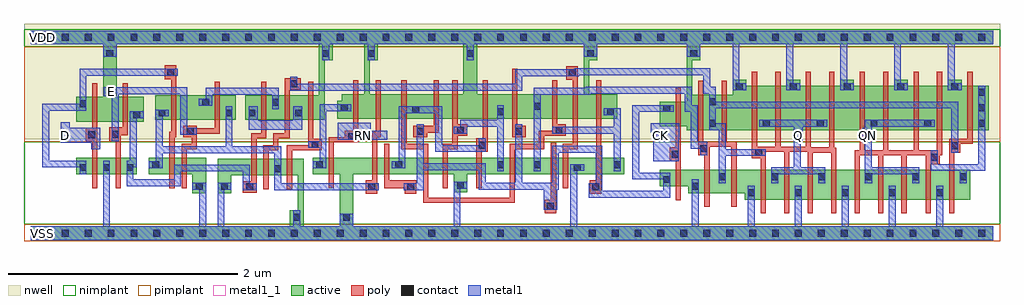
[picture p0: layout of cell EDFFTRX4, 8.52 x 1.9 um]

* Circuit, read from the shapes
.subckt EDFFTRX4 CK D E Q QN RN VDD VSS
M1 VSS D n1 VSS nfet w=0.145u l=0.045u
M2 n2 E VSS VSS nfet w=0.145u l=0.045u
M3 n3 n1 n4 VSS nfet w=0.145u l=0.045u
M4 VSS E n3 VSS nfet w=0.145u l=0.045u
M5 n5 n2 VSS VSS nfet w=0.145u l=0.045u
M6 n4 n6 n5 VSS nfet w=0.145u l=0.045u
M7 VSS n7 n4 VSS nfet w=0.145u l=0.045u
M8 VSS RN n7 VSS nfet w=0.145u l=0.045u
M9 n8 n4 VSS VSS nfet w=0.145u l=0.045u
M10 n9 n10 n8 VSS nfet w=0.145u l=0.045u
M11 n11 n12 n9 VSS nfet w=0.145u l=0.045u
M12 VSS n13 n11 VSS nfet w=0.145u l=0.045u
M13 n13 n9 VSS VSS nfet w=0.145u l=0.045u
M14 n14 n12 n13 VSS nfet w=0.145u l=0.045u
M15 n15 n10 n14 VSS nfet w=0.145u l=0.045u
M16 VSS n6 n15 VSS nfet w=0.145u l=0.045u
M17 n12 n10 VSS VSS nfet w=0.145u l=0.045u
M18 VSS CK n10 VSS nfet w=0.145u l=0.045u
M19 n6 n14 VSS VSS nfet w=0.205u l=0.045u m=2
M20 Q n6 VSS VSS nfet w=0.26u l=0.045u m=4
M21 QN n16 VSS VSS nfet w=0.26u l=0.045u m=4
M22 n16 n6 VSS VSS nfet w=0.26u l=0.045u
M23 VDD D n1 VDD pfet w=0.215u l=0.045u
M24 n2 E VDD VDD pfet w=0.215u l=0.045u
M25 n17 n1 n4 VDD pfet w=0.215u l=0.045u
M26 n4 E n17 VDD pfet w=0.215u l=0.045u
M27 n17 n2 n18 VDD pfet w=0.215u l=0.045u
M28 n18 n6 n17 VDD pfet w=0.215u l=0.045u
M29 VDD n7 n18 VDD pfet w=0.215u l=0.045u
M30 VDD RN n7 VDD pfet w=0.215u l=0.045u
M31 n19 n4 VDD VDD pfet w=0.215u l=0.045u
M32 n9 n12 n19 VDD pfet w=0.215u l=0.045u
M33 n20 n10 n9 VDD pfet w=0.215u l=0.045u
M34 VDD n13 n20 VDD pfet w=0.215u l=0.045u
M35 n13 n9 VDD VDD pfet w=0.215u l=0.045u
M36 n14 n10 n13 VDD pfet w=0.215u l=0.045u
M37 n21 n12 n14 VDD pfet w=0.215u l=0.045u
M38 VDD n6 n21 VDD pfet w=0.215u l=0.045u
M39 n12 n10 VDD VDD pfet w=0.215u l=0.045u
M40 VDD CK n10 VDD pfet w=0.215u l=0.045u
M41 n6 n14 VDD VDD pfet w=0.31u l=0.045u m=2
M42 Q n6 VDD VDD pfet w=0.39u l=0.045u m=4
M43 QN n16 VDD VDD pfet w=0.39u l=0.045u m=4
M44 n16 n6 VDD VDD pfet w=0.39u l=0.045u
.ends

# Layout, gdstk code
import gdstk
lib = gdstk.Library(unit=1e-6, precision=5e-10)
def R(c, l, rs):  # rectangles x0, y0, x1, y1
    for r in rs: c.add(gdstk.rectangle(r[:2], r[2:], *l))
def A(c, l, x, y, w, h, nx, ny, dx, dy):  # array of equal rectangles
    R(c, l, [(x+i*dx, y+j*dy, x+i*dx+w, y+j*dy+h) for i in range(nx) for j in range(ny)])
def P(c, l, *ps):  # polygons
    for p in ps: c.add(gdstk.Polygon(p, *l))
active = (1, 0)
nwell = (2, 0)
poly = (3, 0)
nimplant = (4, 0)
pimplant = (5, 0)
contact = (6, 0)
metal1 = (7, 0)
metal1_1 = (7, 1)

edfftrx4 = lib.new_cell('EDFFTRX4')
R(edfftrx4, active, [(0.395,0.515,0.925,0.66), (1.085,0.99,1.79,1.205)])
P(edfftrx4, active, [(0,1.77),(8.4,1.77),(8.4,1.65),(5.845,1.65),(5.845,1.51),(5.775,1.51),(5.775,1.21),(6.125,1.21),(6.125,1.34),(6.245,1.34),(6.245,1.29),(6.595,1.29),(6.595,1.34),(6.715,1.34),(6.715,1.29),(7.065,1.29),(7.065,1.34),(7.185,1.34),(7.185,1.29),(7.535,1.29),(7.535,1.34),(7.655,1.34),(7.655,1.29),(8.005,1.29),(8.005,1.34),(8.125,1.34),(8.125,1.29),(8.36,1.29),(8.36,0.9),(5.725,0.9),(5.725,0.935),(5.49,0.935),(5.49,1.15),(5.725,1.15),(5.725,1.65),(4.945,1.65),(4.945,1.51),(4.875,1.51),(4.875,1.215),(5.12,1.215),(5.12,1),(2.675,1),(2.675,1.155),(2.715,1.155),(2.715,1.215),(2.91,1.215),(2.91,1.65),(3.03,1.65),(3.03,1.51),(2.96,1.51),(2.96,1.215),(3.775,1.215),(3.775,1.65),(3.895,1.65),(3.895,1.215),(4.825,1.215),(4.825,1.65),(2.635,1.65),(2.635,1.51),(2.565,1.51),(2.565,0.99),(1.87,0.99),(1.87,1.205),(2.515,1.205),(2.515,1.65),(0.75,1.65),(0.75,1.19),(0.985,1.19),(0.985,0.975),(0.395,0.975),(0.395,1.19),(0.63,1.19),(0.63,1.65),(0,1.65)],
  [(1.03,0.66),(1.53,0.66),(1.53,0.35),(1.41,0.35),(1.41,0.515),(1.03,0.515)],
  [(1.63,0.65),(2.38,0.65),(2.38,0.06),(2.695,0.06),(2.695,0.515),(2.46,0.515),(2.46,0.66),(5.18,0.66),(5.18,0.515),(3.81,0.515),(3.81,0.36),(3.69,0.36),(3.69,0.515),(2.815,0.515),(2.815,0.06),(8.4,0.06),(8.4,-0.06),(0,-0.06),(0,0.06),(2.26,0.06),(2.26,0.2),(2.33,0.2),(2.33,0.505),(1.75,0.505),(1.75,0.35),(1.63,0.35)],
  [(5.49,0.555),(8.2,0.555),(8.2,0.295),(6.23,0.295),(6.23,0.35),(5.74,0.35),(5.74,0.41),(5.49,0.41)])
R(edfftrx4, nwell, [(-0.06,0.82,8.46,1.83)])
P(edfftrx4, poly, [(0.535,1.31),(0.58,1.31),(0.58,0.395),(0.535,0.395),(0.535,0.8),(0.48,0.8),(0.48,0.92),(0.535,0.92)],
  [(1.17,1.465),(1.27,1.465),(1.27,0.84),(1.255,0.84),(1.255,0.395),(1.21,0.395),(1.21,0.885),(1.225,0.885),(1.225,1.345),(1.17,1.345)],
  [(2.215,1.355),(2.355,1.355),(2.355,1.255),(2.26,1.255),(2.26,0.83),(2.16,0.83),(2.16,0.725),(2.075,0.725),(2.075,0.385),(2.03,0.385),(2.03,0.77),(2.115,0.77),(2.115,0.875),(2.215,0.875)],
  [(0.8,1.31),(0.845,1.31),(0.845,0.855),(0.785,0.855),(0.785,0.395),(0.74,0.395),(0.74,0.805),(0.685,0.805),(0.685,0.925),(0.8,0.925)],
  [(1.33,0.94),(1.45,0.94),(1.45,0.915),(1.605,0.915),(1.605,1.325),(1.65,1.325),(1.65,0.87),(1.45,0.87),(1.45,0.735),(1.36,0.735),(1.36,0.395),(1.315,0.395),(1.315,0.78),(1.405,0.78),(1.405,0.84),(1.33,0.84)],
  [(2.01,1.325),(2.055,1.325),(2.055,0.83),(1.97,0.83),(1.97,0.355),(1.85,0.355),(1.85,0.455),(1.925,0.455),(1.925,0.875),(2.01,0.875)],
  [(2.42,1.325),(2.465,1.325),(2.465,0.825),(2.54,0.825),(2.54,0.725),(2.28,0.725),(2.28,0.385),(2.235,0.385),(2.235,0.77),(2.42,0.77)],
  [(2.815,1.335),(2.86,1.335),(2.86,0.795),(2.645,0.795),(2.645,0.395),(2.6,0.395),(2.6,0.84),(2.74,0.84),(2.74,0.895),(2.815,0.895)],
  [(3.01,1.335),(3.055,1.335),(3.055,0.84),(3.025,0.84),(3.025,0.345),(2.925,0.345),(2.925,0.465),(2.98,0.465),(2.98,0.885),(3.01,0.885)],
  [(3.235,1.335),(3.28,1.335),(3.28,0.78),(3.47,0.78),(3.47,0.31),(4.18,0.31),(4.18,0.78),(4.435,0.78),(4.435,0.895),(4.55,0.895),(4.55,1.335),(4.595,1.335),(4.595,0.95),(4.67,0.95),(4.67,0.85),(4.48,0.85),(4.48,0.735),(4.225,0.735),(4.225,0.265),(3.425,0.265),(3.425,0.735),(3.235,0.735)],
  [(3.515,1.335),(3.56,1.335),(3.56,0.88),(3.46,0.88),(3.46,0.84),(3.34,0.84),(3.34,0.94),(3.515,0.94)],
  [(3.68,1.335),(3.725,1.335),(3.725,0.95),(3.81,0.95),(3.81,0.85),(3.725,0.85),(3.725,0.735),(3.64,0.735),(3.64,0.395),(3.595,0.395),(3.595,0.78),(3.68,0.78)],
  [(4.675,1.46),(4.775,1.46),(4.775,0.735),(4.69,0.735),(4.69,0.395),(4.645,0.395),(4.645,0.78),(4.73,0.78),(4.73,1.34),(4.675,1.34)],
  [(3.945,1.335),(3.99,1.335),(3.99,0.71),(3.935,0.71),(3.935,0.395),(3.89,0.395),(3.89,0.83),(3.945,0.83)],
  [(4.2,1.435),(4.245,1.435),(4.245,0.94),(4.32,0.94),(4.32,0.84),(4.2,0.84)],
  [(4.935,1.335),(4.98,1.335),(4.98,0.345),(4.88,0.345),(4.88,0.465),(4.935,0.465)],
  [(5.63,1.27),(5.675,1.27),(5.675,0.29),(5.63,0.29),(5.63,0.63),(5.575,0.63),(5.575,0.75),(5.63,0.75)],
  [(5.825,1.33),(5.87,1.33),(5.87,0.8),(6.03,0.8),(6.03,1.33),(6.075,1.33),(6.075,0.8),(6.16,0.8),(6.16,0.23),(6.115,0.23),(6.115,0.755),(5.925,0.755),(5.925,0.23),(5.88,0.23),(5.88,0.68),(5.825,0.68)],
  [(6.295,1.41),(6.34,1.41),(6.34,0.755),(6.5,0.755),(6.5,1.41),(6.545,1.41),(6.545,0.755),(6.765,0.755),(6.765,1.41),(6.81,1.41),(6.81,0.75),(6.97,0.75),(6.97,1.41),(7.015,1.41),(7.015,0.745),(7.03,0.745),(7.03,0.175),(6.985,0.175),(6.985,0.705),(6.825,0.705),(6.825,0.175),(6.78,0.175),(6.78,0.71),(6.62,0.71),(6.62,0.175),(6.575,0.175),(6.575,0.71),(6.415,0.71),(6.415,0.175),(6.37,0.175),(6.37,0.655),(6.295,0.655)],
  [(7.235,1.41),(7.28,1.41),(7.28,0.725),(7.44,0.725),(7.44,1.41),(7.485,1.41),(7.485,0.725),(7.705,0.725),(7.705,1.41),(7.75,1.41),(7.75,0.725),(7.91,0.725),(7.91,1.41),(7.955,1.41),(7.955,0.68),(7.935,0.68),(7.935,0.605),(7.855,0.605),(7.855,0.175),(7.81,0.175),(7.81,0.68),(7.645,0.68),(7.645,0.175),(7.6,0.175),(7.6,0.68),(7.44,0.68),(7.44,0.175),(7.395,0.175),(7.395,0.68),(7.235,0.68),(7.235,0.175),(7.19,0.175),(7.19,0.725),(7.235,0.725)],
  [(8.175,1.41),(8.22,1.41),(8.22,0.78),(8.115,0.78),(8.115,0.705),(8.06,0.705),(8.06,0.175),(8.015,0.175),(8.015,0.825),(8.175,0.825)],
  [(3.085,0.78),(3.13,0.78),(3.13,0.465),(3.365,0.465),(3.365,0.345),(3.265,0.345),(3.265,0.395),(3.085,0.395)],
  [(4.54,0.79),(4.585,0.79),(4.585,0.175),(4.485,0.175),(4.485,0.295),(4.54,0.295)])
R(edfftrx4, nimplant, [(-0.06,0.08,8.46,0.8), (-0.06,1.63,8.46,1.78)])
R(edfftrx4, pimplant, [(-0.06,-0.07,8.46,0.08), (-0.06,0.8,8.46,1.63)])
A(edfftrx4, contact, 0.07, -0.03, 0.06, 0.06, 42, 2, 0.2, 1.71)
A(edfftrx4, contact, 6.26, 0.325, 0.06, 0.06, 4, 1, 0.41, 0)
A(edfftrx4, contact, 6.465, 0.465, 0.06, 0.06, 4, 1, 0.41, 0)
A(edfftrx4, contact, 0.425, 0.545, 0.06, 0.06, 3, 1, 0.205, 0)
A(edfftrx4, contact, 5.92, 0.93, 0.06, 0.06, 6, 1, 0.47, 0)
A(edfftrx4, contact, 6.155, 1.25, 0.06, 0.06, 5, 1, 0.47, 0)
R(edfftrx4, contact, [(2.29,0.11,2.35,0.17), (2.725,0.11,2.785,0.17), (4.505,0.205,4.565,0.265), (7.905,0.325,7.965,0.385), (1.88,0.375,1.94,0.435), (2.945,0.375,3.005,0.435), (3.285,0.375,3.345,0.435), (4.9,0.375,4.96,0.435), (1.44,0.38,1.5,0.44), (1.66,0.38,1.72,0.44), (5.77,0.38,5.83,0.44), (3.72,0.39,3.78,0.45), (5.52,0.44,5.58,0.5), (6.005,0.465,6.065,0.525), (8.11,0.465,8.17,0.525), (2.125,0.535,2.185,0.595), (4.74,0.545,4.8,0.605), (1.06,0.57,1.12,0.63), (2.49,0.57,2.55,0.63), (3.18,0.57,3.24,0.63), (4.07,0.57,4.13,0.63), (4.39,0.57,4.45,0.63), (5.09,0.57,5.15,0.63), (7.855,0.635,7.915,0.695), (5.595,0.66,5.655,0.72), (6.325,0.675,6.385,0.735), (5.845,0.71,5.905,0.77), (8.035,0.735,8.095,0.795), (3.91,0.74,3.97,0.8), (2.45,0.745,2.51,0.805), (2.77,0.815,2.83,0.875), (0.5,0.83,0.56,0.89), (0.705,0.835,0.765,0.895), (1.36,0.86,1.42,0.92), (3.37,0.86,3.43,0.92), (4.23,0.86,4.29,0.92), (3.72,0.87,3.78,0.93), (4.58,0.87,4.64,0.93), (0.895,1.005,0.955,1.065), (1.115,1.02,1.175,1.08), (1.7,1.02,1.76,1.08), (1.9,1.02,1.96,1.08), (2.31,1.02,2.37,1.08), (4.07,1.03,4.13,1.09), (5.03,1.03,5.09,1.09), (3.33,1.05,3.39,1.11), (5.52,1.06,5.58,1.12), (2.705,1.065,2.765,1.125), (8.27,1.065,8.33,1.125), (4.39,1.08,4.45,1.14), (0.425,1.1,0.485,1.16), (1.495,1.115,1.555,1.175), (2.105,1.115,2.165,1.175), (5.92,1.12,5.98,1.18), (8.27,1.2,8.33,1.26), (2.265,1.275,2.325,1.335), (4.695,1.37,4.755,1.43), (1.19,1.375,1.25,1.435), (0.66,1.54,0.72,1.6), (2.545,1.54,2.605,1.6), (2.94,1.54,3,1.6), (3.805,1.54,3.865,1.6), (4.855,1.54,4.915,1.6), (5.755,1.54,5.815,1.6)])
P(edfftrx4, metal1, [(0,1.77),(8.4,1.77),(8.4,1.65),(8.065,1.65),(8.065,1.31),(8.125,1.31),(8.125,1.25),(8.005,1.25),(8.005,1.65),(7.595,1.65),(7.595,1.31),(7.655,1.31),(7.655,1.25),(7.535,1.25),(7.535,1.65),(7.125,1.65),(7.125,1.31),(7.185,1.31),(7.185,1.25),(7.065,1.25),(7.065,1.65),(6.655,1.65),(6.655,1.31),(6.715,1.31),(6.715,1.25),(6.595,1.25),(6.595,1.65),(6.185,1.65),(6.185,1.31),(6.245,1.31),(6.245,1.25),(6.125,1.25),(6.125,1.65),(5.845,1.65),(5.845,1.54),(5.725,1.54),(5.725,1.65),(4.945,1.65),(4.945,1.54),(4.825,1.54),(4.825,1.65),(3.865,1.65),(3.865,1.51),(3.805,1.51),(3.805,1.65),(3,1.65),(3,1.51),(2.94,1.51),(2.94,1.65),(2.605,1.65),(2.605,1.51),(2.545,1.51),(2.545,1.65),(0.75,1.65),(0.75,1.54),(0.63,1.54),(0.63,1.65),(0,1.65)],
  [(4.745,1.44),(5.93,1.44),(5.93,1.28),(5.98,1.28),(5.98,1.15),(8.095,1.15),(8.095,0.705),(8.035,0.705),(8.035,1.09),(5.98,1.09),(5.98,0.96),(6.065,0.96),(6.065,0.735),(6.415,0.735),(6.415,0.675),(6.065,0.675),(6.065,0.435),(6.005,0.435),(6.005,0.9),(5.92,0.9),(5.92,1.22),(5.87,1.22),(5.87,1.38),(4.785,1.38),(4.785,1.37),(4.29,1.37),(4.29,1.245),(2.265,1.245),(2.265,1.365),(2.325,1.365),(2.325,1.305),(4.23,1.305),(4.23,1.43),(4.745,1.43)],
  [(0.425,1.435),(1.28,1.435),(1.28,1.375),(0.485,1.375),(0.485,1.07),(0.16,1.07),(0.16,0.635),(0.485,0.635),(0.485,0.515),(0.425,0.515),(0.425,0.575),(0.1,0.575),(0.1,1.13),(0.425,1.13)],
  [(1.525,1.27),(2.165,1.27),(2.165,1.085),(2.105,1.085),(2.105,1.21),(1.585,1.21),(1.585,1.115),(1.465,1.115),(1.465,1.175),(1.525,1.175)],
  [(7.855,0.725),(7.915,0.725),(7.915,0.605),(8.27,0.605),(8.27,1.29),(8.33,1.29),(8.33,0.545),(8.17,0.545),(8.17,0.435),(8.11,0.435),(8.11,0.545),(7.855,0.545)],
  [(0.635,1.275),(1.365,1.275),(1.365,0.92),(1.45,0.92),(1.45,0.86),(1.305,0.86),(1.305,1.215),(0.765,1.215),(0.765,0.805),(0.705,0.805),(0.705,1.195),(0.635,1.195)],
  [(4.845,1.28),(5.77,1.28),(5.77,1.12),(5.82,1.12),(5.82,0.8),(5.905,0.8),(5.905,0.68),(5.845,0.68),(5.845,0.74),(5.76,0.74),(5.76,1.06),(5.71,1.06),(5.71,1.22),(4.885,1.22),(4.885,1.21),(4.45,1.21),(4.45,0.54),(4.39,0.54),(4.39,1.27),(4.845,1.27)],
  [(0.26,0.97),(0.34,0.97),(0.34,0.92),(0.605,0.92),(0.605,0.735),(0.525,0.735),(0.525,0.79),(0.26,0.79)],
  [(0.865,1.065),(0.985,1.065),(0.985,1.005),(0.925,1.005),(0.925,0.575),(0.895,0.575),(0.895,0.47),(1.25,0.47),(1.25,0.6),(1.91,0.6),(1.91,0.435),(1.97,0.435),(1.97,0.375),(1.85,0.375),(1.85,0.54),(1.31,0.54),(1.31,0.41),(0.835,0.41),(0.835,0.635),(0.865,0.635)],
  [(1.085,1.08),(1.205,1.08),(1.205,1.02),(1.15,1.02),(1.15,0.76),(1.7,0.76),(1.7,1.11),(1.76,1.11),(1.76,0.76),(2.185,0.76),(2.185,0.435),(3.035,0.435),(3.035,0.375),(2.125,0.375),(2.125,0.7),(1.15,0.7),(1.15,0.57),(1.03,0.57),(1.03,0.63),(1.09,0.63),(1.09,1.02),(1.085,1.02)],
  [(0.63,0.635),(0.69,0.635),(0.69,0.06),(1.47,0.06),(1.47,0.38),(1.41,0.38),(1.41,0.44),(1.53,0.44),(1.53,0.06),(1.63,0.06),(1.63,0.44),(1.75,0.44),(1.75,0.38),(1.69,0.38),(1.69,0.06),(2.29,0.06),(2.29,0.2),(2.35,0.2),(2.35,0.06),(2.695,0.06),(2.695,0.17),(2.815,0.17),(2.815,0.06),(3.69,0.06),(3.69,0.45),(3.81,0.45),(3.81,0.39),(3.75,0.39),(3.75,0.06),(4.71,0.06),(4.71,0.605),(4.83,0.605),(4.83,0.545),(4.77,0.545),(4.77,0.06),(5.77,0.06),(5.77,0.47),(5.83,0.47),(5.83,0.06),(6.26,0.06),(6.26,0.415),(6.32,0.415),(6.32,0.06),(6.67,0.06),(6.67,0.415),(6.73,0.415),(6.73,0.06),(7.08,0.06),(7.08,0.415),(7.14,0.415),(7.14,0.06),(7.49,0.06),(7.49,0.415),(7.55,0.415),(7.55,0.06),(7.905,0.06),(7.905,0.415),(7.965,0.415),(7.965,0.06),(8.4,0.06),(8.4,-0.06),(0,-0.06),(0,0.06),(0.63,0.06)],
  [(1.9,1.11),(1.98,1.11),(1.98,0.985),(2.29,0.985),(2.29,1.11),(2.37,1.11),(2.37,0.905),(1.9,0.905)],
  [(4.07,1.12),(4.13,1.12),(4.13,0.54),(4.07,0.54),(4.07,0.93),(3.81,0.93),(3.81,0.87),(3.69,0.87),(3.69,0.93),(3.75,0.93),(3.75,0.99),(4.07,0.99)],
  [(2.52,1.125),(2.795,1.125),(2.795,1.065),(2.58,1.065),(2.58,0.57),(2.46,0.57),(2.46,0.63),(2.52,0.63),(2.52,0.745),(2.42,0.745),(2.42,0.805),(2.52,0.805)],
  [(3.21,1.11),(3.59,1.11),(3.59,0.77),(3.91,0.77),(3.91,0.83),(3.97,0.83),(3.97,0.71),(3.53,0.71),(3.53,1.05),(3.27,1.05),(3.27,0.57),(3.15,0.57),(3.15,0.63),(3.21,0.63)],
  [(2.68,0.965),(2.965,0.965),(2.965,0.895),(3.11,0.895),(3.11,0.815),(2.68,0.815)],
  [(5.25,1.12),(5.61,1.12),(5.61,1.06),(5.31,1.06),(5.31,0.53),(5.58,0.53),(5.58,0.31),(4.87,0.31),(4.87,0.435),(4.93,0.435),(4.93,0.705),(4.61,0.705),(4.61,0.38),(4.595,0.38),(4.595,0.205),(4.475,0.205),(4.475,0.38),(3.91,0.38),(3.91,0.55),(3.43,0.55),(3.43,0.375),(3.255,0.375),(3.255,0.435),(3.37,0.435),(3.37,0.95),(3.43,0.95),(3.43,0.61),(3.97,0.61),(3.97,0.44),(4.23,0.44),(4.23,0.95),(4.29,0.95),(4.29,0.44),(4.55,0.44),(4.55,0.765),(4.99,0.765),(4.99,0.37),(5.52,0.37),(5.52,0.47),(5.25,0.47)],
  [(5,1.09),(5.15,1.09),(5.15,0.54),(5.09,0.54),(5.09,0.87),(4.55,0.87),(4.55,0.93),(5.09,0.93),(5.09,1.03),(5,1.03)],
  [(5.41,0.96),(5.66,0.96),(5.66,0.815),(5.655,0.815),(5.655,0.63),(5.435,0.63),(5.435,0.88),(5.41,0.88)],
  [(6.36,0.99),(6.95,0.99),(6.95,0.93),(6.74,0.93),(6.74,0.79),(6.72,0.79),(6.72,0.575),(6.935,0.575),(6.935,0.435),(6.875,0.435),(6.875,0.515),(6.525,0.515),(6.525,0.435),(6.465,0.435),(6.465,0.575),(6.66,0.575),(6.66,0.93),(6.36,0.93)],
  [(7.28,0.99),(7.89,0.99),(7.89,0.93),(7.34,0.93),(7.34,0.575),(7.755,0.575),(7.755,0.435),(7.695,0.435),(7.695,0.515),(7.345,0.515),(7.345,0.435),(7.28,0.435),(7.28,0.79),(7.26,0.79),(7.26,0.92),(7.28,0.92)])
A(edfftrx4, metal1_1, 0.26, 0.815, 0.08, 0.08, 3, 1, 2.6, 0)
R(edfftrx4, metal1_1, [(0.06,-0.04,0.14,0.04), (6.66,0.815,6.74,0.895), (7.26,0.815,7.34,0.895), (0.66,1.195,0.74,1.275), (0.06,1.67,0.14,1.75)])
edfftrx4.add(gdstk.Label('QN', (7.3,0.855), layer=7, texttype=1))
edfftrx4.add(gdstk.Label('Q', (6.7,0.855), layer=7, texttype=1))
edfftrx4.add(gdstk.Label('CK', (5.5,0.855), layer=7, texttype=1))
edfftrx4.add(gdstk.Label('RN', (2.9,0.855), layer=7, texttype=1))
edfftrx4.add(gdstk.Label('E', (0.7,1.235), layer=7, texttype=1))
edfftrx4.add(gdstk.Label('D', (0.3,0.855), layer=7, texttype=1))
edfftrx4.add(gdstk.Label('VDD', (0.1,1.71), layer=7, texttype=1))
edfftrx4.add(gdstk.Label('VSS', (0.1,0), layer=7, texttype=1))
edfftrx4.add(gdstk.Label('EDFFTRX4', (0,0), layer=63, texttype=0))

lib.write_gds('EDFFTRX4.gds')
